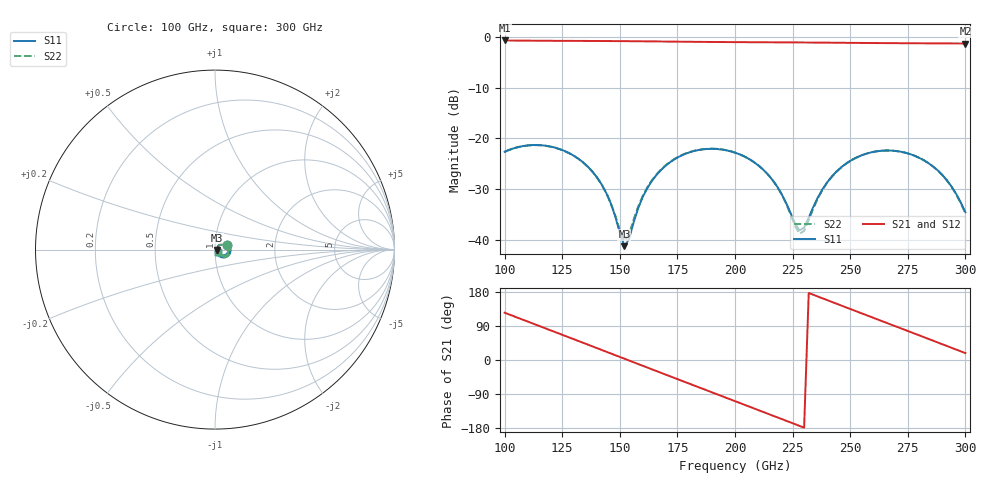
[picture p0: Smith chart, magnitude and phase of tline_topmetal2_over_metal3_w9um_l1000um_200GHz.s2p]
#  GHZ S DB R 50
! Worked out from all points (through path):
!   101 points, 100 GHz to 300 GHz, reference 50 ohm
!   highest |S21| = -0.74 dB at 100 GHz (marker M1); lowest = -1.3 dB at 300 GHz (marker M2)
!   group delay of S21, straight-line fit = 6.48 ps
!   lowest |S11| = -41.2 dB at 152 GHz (marker M3), VSWR 1.02, Z = 50.9 - j0.213 ohm
!   |S11| at or under -10 dB: start of sweep to end of sweep
!   |S22| runs from -40.1 to -21.3 dB; largest |S21 - S12| = 1e-13
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100  -22.61 20.6  -0.74 124.8  -0.74 124.8  -22.64 21.1
116  -21.33 -11.9  -0.80 87.5  -0.80 87.5  -21.35 -11.4
124  -22.10 -28.1  -0.82 68.9  -0.82 68.9  -22.12 -27.6
134  -24.67 -47.4  -0.83 45.6  -0.83 45.6  -24.69 -46.6
144  -30.60 -60.7  -0.85 22.2  -0.85 22.2  -30.59 -58.8
152  -41.16 -13.8  -0.88 3.4  -0.88 3.4  -40.14 -11.4
160  -31.47 48.2  -0.91 -15.4  -0.91 -15.4  -31.25 45.8
168  -26.14 39.7  -0.94 -34.1  -0.94 -34.1  -26.05 38.1
184  -22.29 9.6  -1.01 -71.4  -1.01 -71.4  -22.25 8.3
200  -22.78 -21.8  -1.07 -108.6  -1.07 -108.6  -22.76 -23.2
216  -27.99 -47.1  -1.10 -145.9  -1.10 -145.9  -28.00 -49.2
228  -38.05 -7.9  -1.13 -173.9  -1.13 -173.9  -38.74 -9.9
230  -37.51 15.9  -1.14 -178.6  -1.14 -178.6  -38.16 16.3
234  -33.44 40.5  -1.15 172.1  -1.15 172.1  -33.70 41.8
240  -28.62 43.8  -1.17 158.1  -1.17 158.1  -28.70 44.3
248  -25.00 33.5  -1.20 139.4  -1.20 139.4  -25.02 33.5
258  -22.85 15.5  -1.24 116.1  -1.24 116.1  -22.86 15.2
268  -22.39 -3.8  -1.27 92.8  -1.27 92.8  -22.39 -4.4
276  -23.08 -19.1  -1.29 74.2  -1.29 74.2  -23.07 -20.0
286  -25.51 -36.4  -1.31 50.9  -1.31 50.9  -25.52 -37.6
294  -29.46 -44.7  -1.33 32.2  -1.33 32.2  -29.49 -46.7
300  -34.50 -36.4  -1.34 18.2  -1.34 18.2  -34.72 -39.3
